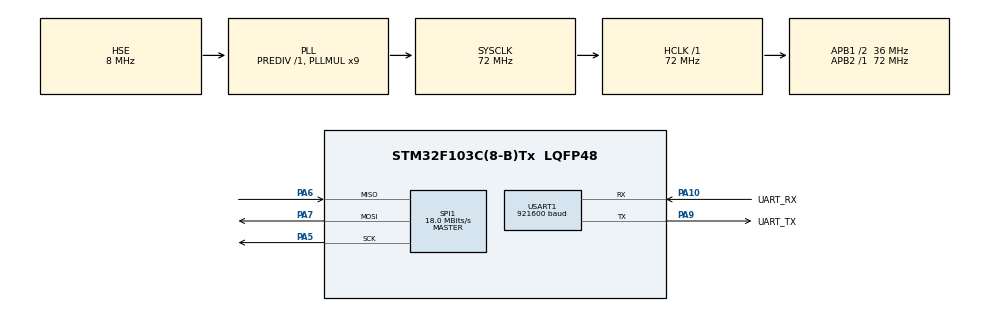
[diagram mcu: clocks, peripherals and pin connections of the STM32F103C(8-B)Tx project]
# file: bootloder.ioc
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Dma.Request0=USART1_TX
Dma.Request1=USART1_RX
Dma.USART1_RX.1.Direction=DMA_PERIPH_TO_MEMORY
Dma.USART1_RX.1.Instance=DMA1_Channel5
Dma.USART1_RX.1.MemDataAlignment=DMA_MDATAALIGN_BYTE
Dma.USART1_RX.1.MemInc=DMA_MINC_ENABLE
Dma.USART1_RX.1.Mode=DMA_NORMAL
Dma.USART1_RX.1.PeriphDataAlignment=DMA_PDATAALIGN_BYTE
Dma.USART1_RX.1.PeriphInc=DMA_PINC_DISABLE
Dma.USART1_RX.1.Priority=DMA_PRIORITY_LOW
Dma.USART1_TX.0.Direction=DMA_MEMORY_TO_PERIPH
Dma.USART1_TX.0.Instance=DMA1_Channel4
Dma.USART1_TX.0.MemDataAlignment=DMA_MDATAALIGN_BYTE
Dma.USART1_TX.0.MemInc=DMA_MINC_ENABLE
Dma.USART1_TX.0.Mode=DMA_NORMAL
Dma.USART1_TX.0.PeriphDataAlignment=DMA_PDATAALIGN_BYTE
Dma.USART1_TX.0.PeriphInc=DMA_PINC_DISABLE
Dma.USART1_TX.0.Priority=DMA_PRIORITY_LOW
Mcu.Family=STM32F1
Mcu.Name=STM32F103C(8-B)Tx
Mcu.Package=LQFP48
NVIC.DMA1_Channel4_IRQn=true\:0\:0\:false\:false\:true\:false\:true\:true
NVIC.DMA1_Channel5_IRQn=true\:0\:0\:false\:false\:true\:false\:true\:true
NVIC.PriorityGroup=NVIC_PRIORITYGROUP_4
NVIC.USART1_IRQn=true\:0\:0\:false\:false\:true\:false\:true\:true
PA10.GPIO_Label=UART_RX
PA10.Mode=Asynchronous
PA10.Signal=USART1_RX
PA13.Mode=Serial_Wire
PA13.Signal=SYS_JTMS-SWDIO
PA14.Mode=Serial_Wire
PA14.Signal=SYS_JTCK-SWCLK
PA5.Mode=Full_Duplex_Master
PA5.Signal=SPI1_SCK
PA6.Mode=Full_Duplex_Master
PA6.Signal=SPI1_MISO
PA7.Mode=Full_Duplex_Master
PA7.Signal=SPI1_MOSI
PA9.GPIO_Label=UART_TX
PA9.Mode=Asynchronous
PA9.Signal=USART1_TX
PC14-OSC32_IN.Mode=LSE-External-Oscillator
PC14-OSC32_IN.Signal=RCC_OSC32_IN
PC15-OSC32_OUT.Mode=LSE-External-Oscillator
PC15-OSC32_OUT.Signal=RCC_OSC32_OUT
PD0-OSC_IN.Mode=HSE-External-Oscillator
PD0-OSC_IN.Signal=RCC_OSC_IN
PD1-OSC_OUT.Mode=HSE-External-Oscillator
PD1-OSC_OUT.Signal=RCC_OSC_OUT
ProjectManager.HeapSize=0x200
ProjectManager.StackSize=0x400
ProjectManager.TargetToolchain=MDK-ARM V5.32
RCC.AHBFreq_Value=72000000
RCC.APB1CLKDivider=RCC_HCLK_DIV2
RCC.APB1Freq_Value=36000000
RCC.APB1TimFreq_Value=72000000
RCC.APB2Freq_Value=72000000
RCC.APB2TimFreq_Value=72000000
RCC.HCLKFreq_Value=72000000
RCC.PLLMUL=RCC_PLL_MUL9
RCC.PLLSourceVirtual=RCC_PLLSOURCE_HSE
RCC.SYSCLKFreq_VALUE=72000000
RCC.SYSCLKSource=RCC_SYSCLKSOURCE_PLLCLK
RCC.USBFreq_Value=72000000
SPI1.BaudRatePrescaler=SPI_BAUDRATEPRESCALER_4
SPI1.CLKPolarity=SPI_POLARITY_LOW
SPI1.CalculateBaudRate=18.0 MBits/s
SPI1.Direction=SPI_DIRECTION_2LINES
SPI1.Mode=SPI_MODE_MASTER
SPI1.VirtualType=VM_MASTER
USART1.BaudRate=921600
USART1.VirtualMode=VM_ASYNC
board=custom

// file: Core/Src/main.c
/* USER CODE BEGIN Header */
/**
  ******************************************************************************
  * @file           : main.c
  * @brief          : Main program body
  ******************************************************************************
  * @attention
  *
  * Copyright (c) 2026 STMicroelectronics.
  * All rights reserved.
  *
  * This software is licensed under terms that can be found in the LICENSE file
  * in the root directory of this software component.
  * If no LICENSE file comes with this software, it is provided AS-IS.
  *
  ******************************************************************************
  */
/* USER CODE END Header */
#include "main.h"
#include "dma.h"
#include "spi.h"
#include "usart.h"
#include "gpio.h"

/* USER CODE BEGIN Includes */
#include "my_uart.h"
#include "my_iic.h"
#include "m24c02.h"
#include "delay.h"
#include "w25q64.h"
#include "fmc.h"
#include "boot.h"
/* USER CODE END Includes */

/* USER CODE BEGIN PV */
 OTA_InfoCB OTA_Info;
 UP_DataA updataA;
/* 下面这几个是没用到的全局量，已删除：
 *   extern uint8_t U0CB_U0_RxBuff[U0_RX_SIZE];  名字和 my_uart.c 里的定义不一致
 *   uint8_t rbuff[256];  uint8_t ret;  uint32_t wdata[1024];（白占 4KB RAM）*/
uint32_t BootStaFlag;
uint8_t aaa[5]={1,2,3,4,5};
/* USER CODE END PV */

void SystemClock_Config(void);

int main(void)
{

  /* MCU Configuration--------------------------------------------------------*/

  /* Reset of all peripherals, Initializes the Flash interface and the Systick. */
  HAL_Init();

  /* Configure the system clock */
  SystemClock_Config();

  /* Initialize all configured peripherals */
  MX_GPIO_Init();
  MX_DMA_Init();
  MX_USART1_UART_Init();
  MX_SPI1_Init();
  /* USER CODE BEGIN 2 */
	SoftI2C_GPIO_Init();
	U0Rx_PtrInit();
HAL_UART_Receive_DMA(&huart1,U0CB.IN->star,U0_RX_MAX+1);//重开DMA接收数据
__HAL_UART_ENABLE_IT(&huart1, UART_IT_IDLE);
W25Q64_Init();
//uint16_t i=0;

OTA_Info.Firelen[0]=0x55;

OTA_Info.OTA_FLAG = 0x00000000;

  /* USER CODE END 2 */

  /* Infinite loop */
  /* USER CODE BEGIN WHILE */
/* 注意：bootloader 必须整个待在 0x08000000~0x08004FFF 内（A 区从 0x08005000 起）。
 * 这条红线由链接器守住：分散文件把 LR_IROM1 限制成 20KB(0x5000)，代码放不下时
 * 会直接报 L6406E / L6407E 拒绝生成 axf。所以"能编译通过"就等于"没有越界"，
 * 千万不要去放大这个区域限制，正确做法是精简代码。                  */
u0_printf("A 区向量表[0]（应为 MSP）= %08X\r\n", *(uint32_t *)0x08005000);
u0_printf("A 区向量表[1]（应为 PC ）= %08X\r\n", *(uint32_t *)0x08005004);
 bootloder_Brance();

 while(1) {
	 HAL_Delay(10);
if (U0CB.OUT != U0CB.IN)
{
    //取出一帧数据，传给事件处理函数
   bootloder_Event(U0CB.OUT->star,  U0CB.OUT->end - U0CB.OUT->star + 1);

    U0CB.OUT++;
    if(U0CB.OUT == U0CB.END)
    {
        U0CB.OUT = &U0CB.URxDataPtr[0];
    }
}

if((BootStaFlag & IAP_XMODEMC_FLAG) && (updataA.xmodem_NB == 0U))
{
	/* 1) 用真实的 100ms 计时（原来是数 100 次主循环，而循环里有 HAL_Delay(10)，
	 *    实际约 1 秒），用 HAL_GetTick() 更准；
	 * 2) 只在还没收到任何数据包时才发 C：标准 XMODEM 里 C 仅用于等待主机
	 *    开始发送，传输途中再插 C 会被部分发送端当成异常而触发重传，
	 *    重传又可能造成数据错位。                                  */
	if((HAL_GetTick() - updataA.xmodem_timer) >= 100U)
	{
		updataA.xmodem_timer = HAL_GetTick();
		u0_printf("C");
	}
}

if(BootStaFlag & UPDATA_A_FLAG)
{
	/* ================= 上电自动升级（功能 5 的"无人工"版本）=================
	 * 触发条件：EEPROM 里的 OTA_Info.OTA_FLAG == OTA_SET_FLAG，
	 *           也就是"W25Q64 里已经存好一份固件，等着搬进 A 区"。
	 * 时序：bootloder_Brance() 先给 2 秒机会按 'w' 进命令行；
	 *       没按才置 UPDATA_A_FLAG，主循环看到标志就执行搬运。
	 * 搬运过程中如果向量表校验不过，会原样保留 A 区并返回 1，此时回到菜单，
	 * 从而避免"升级失败连旧程序也跑不起来"。                                  */
	BootStaFlag &= ~UPDATA_A_FLAG;          /* 先清标志，避免失败后被反复触发 */

	if(BootLoader_UpdateAFromW25Q64() != 0U)
	{
		BootLoader_Info();                  /* 失败原因上面已经打印，这里回菜单 */
	}
}

    /* USER CODE END WHILE */

  }
}

void SystemClock_Config(void)
{
  RCC_OscInitTypeDef RCC_OscInitStruct = {0};
  RCC_ClkInitTypeDef RCC_ClkInitStruct = {0};

  /** Initializes the RCC Oscillators according to the specified parameters
  * in the RCC_OscInitTypeDef structure.
  */
  RCC_OscInitStruct.OscillatorType = RCC_OSCILLATORTYPE_HSE;
  RCC_OscInitStruct.HSEState = RCC_HSE_ON;
  RCC_OscInitStruct.HSEPredivValue = RCC_HSE_PREDIV_DIV1;
  RCC_OscInitStruct.HSIState = RCC_HSI_ON;
  RCC_OscInitStruct.PLL.PLLState = RCC_PLL_ON;
  RCC_OscInitStruct.PLL.PLLSource = RCC_PLLSOURCE_HSE;
  RCC_OscInitStruct.PLL.PLLMUL = RCC_PLL_MUL9;
  if (HAL_RCC_OscConfig(&RCC_OscInitStruct) != HAL_OK)
  {
    Error_Handler();
  }

  /** Initializes the CPU, AHB and APB buses clocks
  */
  RCC_ClkInitStruct.ClockType = RCC_CLOCKTYPE_HCLK|RCC_CLOCKTYPE_SYSCLK
                              |RCC_CLOCKTYPE_PCLK1|RCC_CLOCKTYPE_PCLK2;
  RCC_ClkInitStruct.SYSCLKSource = RCC_SYSCLKSOURCE_PLLCLK;
  RCC_ClkInitStruct.AHBCLKDivider = RCC_SYSCLK_DIV1;
  RCC_ClkInitStruct.APB1CLKDivider = RCC_HCLK_DIV2;
  RCC_ClkInitStruct.APB2CLKDivider = RCC_HCLK_DIV1;

  if (HAL_RCC_ClockConfig(&RCC_ClkInitStruct, FLASH_LATENCY_2) != HAL_OK)
  {
    Error_Handler();
  }
}

void Error_Handler(void)
{
  __disable_irq();
  while (1)
  {
  }
}
